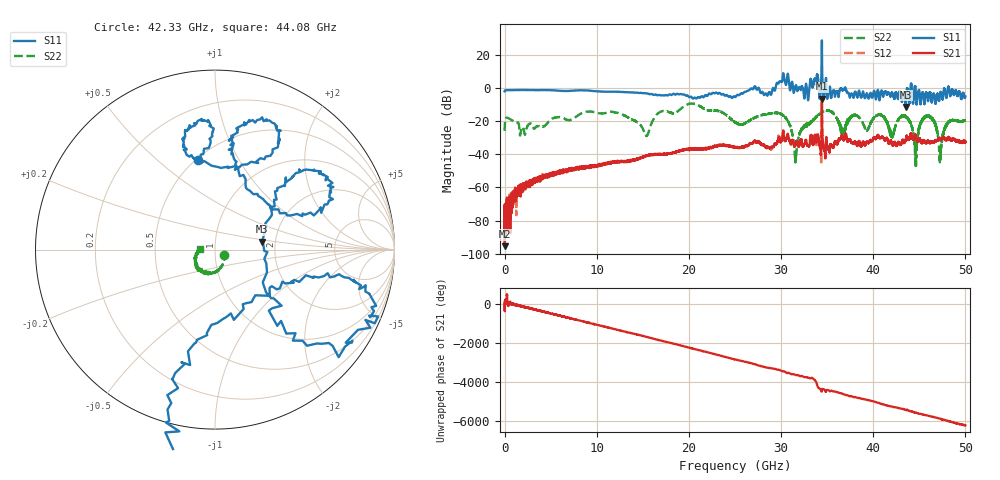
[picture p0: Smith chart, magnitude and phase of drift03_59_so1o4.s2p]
!Created with skrf (http://scikit-rf.org).
# Hz S RI R 50.0
!freq ReS11 ImS11 ReS21 ImS21 ReS12 ImS12 ReS22 ImS22
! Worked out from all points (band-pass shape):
!   10000 points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, 5.3 MHz to 50 GHz, reference 50 ohm
!   highest |S21| = -6.58 dB at 34.43 GHz (marker M1); lowest = -95.4 dB at 25.3 MHz (marker M2)
!   |S21| within 3 dB of the highest: 34.42737 GHz to 34.43433 GHz (6.958 MHz wide, 0.0202 % of centre)
!   lowest |S11| = -11.5 dB at 43.51 GHz (marker M3), VSWR 1.72, Z = 85 + j8.24 ohm
!   |S11| at or under -10 dB: 43.48498 GHz to 43.48731 GHz (2.331 MHz wide, 0.00536 % of centre); 43.49016 GHz to 43.54501 GHz (54.85 MHz wide, 0.126 % of centre); 44.70864 GHz to 44.71101 GHz (2.37 MHz wide, 0.0053 % of centre)
!   |S22| runs from -47.1 to -9.4 dB; largest |S21 - S12| = 0.13
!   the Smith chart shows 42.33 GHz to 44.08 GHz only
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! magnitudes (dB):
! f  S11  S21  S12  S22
! 5.3 MHz  -2.1  -72.7  -78.4  -25.9
! 25.3 MHz  -1.9  -95.4  -84.5  -23.2
! 2.49 GHz  -1.4  -57.8  -57.9  -23.0
! 8.34 GHz  -1.5  -48.4  -48.3  -15.3
! 15.4 GHz  -3.5  -41.1  -40.9  -28.9
! 16.67 GHz  -4.4  -40.1  -40.2  -15.3
! 20.45 GHz  -6.5  -36.7  -36.6  -9.5
! 25.01 GHz  -5.5  -35.6  -36.0  -20.8
! 29.93 GHz  4.0  -32.6  -31.7  -15.6
! 31.59 GHz  1.4  -33.8  -33.9  -44.3
! 33.34 GHz  2.6  -30.2  -30.6  -20.4
! 34.43 GHz  28.5  -6.6  -8.4  -14.5
! 36.71 GHz  -1.4  -30.3  -30.3  -27.6
! 37.95 GHz  -3.9  -32.7  -32.7  -16.7
! 41.67 GHz  -2.9  -33.5  -33.5  -23.5
! 43.51 GHz  -11.5  -31.4  -31.6  -17.6
! 44.61 GHz  -1.6  -29.1  -29.0  -45.5
! 45.68 GHz  -3.8  -32.8  -33.1  -17.4
! 46.61 GHz  -3.7  -33.0  -32.6  -20.1
! 47.28 GHz  -2.9  -30.8  -30.8  -41.8
! 48.15 GHz  0.5  -29.7  -30.1  -20.6
! 50 GHz  -5.2  -32.7  -32.0  -19.6
